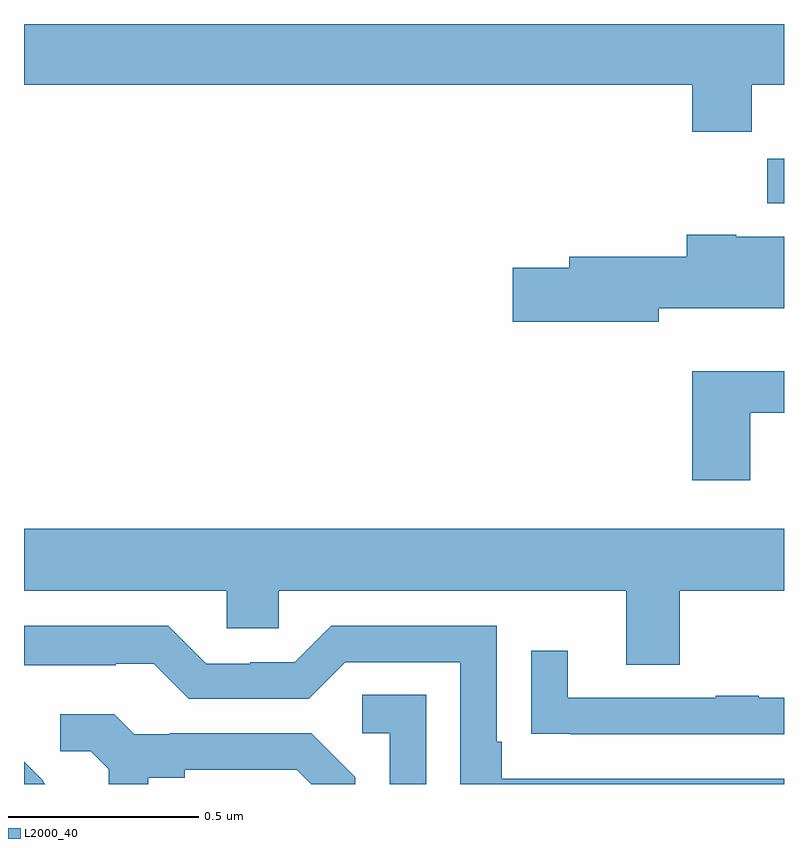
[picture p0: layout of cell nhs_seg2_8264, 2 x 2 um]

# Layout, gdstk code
import gdstk
lib = gdstk.Library(unit=1e-6, precision=1e-09)
def R(c, l, rs):  # rectangles x0, y0, x1, y1
    for r in rs: c.add(gdstk.rectangle(r[:2], r[2:], *l))
def P(c, l, *ps):  # polygons
    for p in ps: c.add(gdstk.Polygon(p, *l))
L2000_40 = (2000, 40)

nhs_seg2_8264 = lib.new_cell('nhs_seg2_8264')
R(nhs_seg2_8264, L2000_40, [(215.956,643.328,216,643.446)])
P(nhs_seg2_8264, L2000_40, [(215.915,643.64),(216,643.64),(216,643.8),(214,643.8),(214,643.64),(215.759,643.64),(215.759,643.516),(215.915,643.516)],
  [(215.67,643.052),(216,643.052),(216,643.24),(215.874,643.24),(215.874,643.246),(215.744,643.246),(215.744,643.188),(215.435,643.188),(215.435,643.158),(215.286,643.158),(215.286,643.016),(215.67,643.016)],
  [(215.911,642.777),(216,642.777),(216,642.886),(215.759,642.886),(215.759,642.6),(215.911,642.6)],
  [(215.725,642.308),(216,642.308),(216,642.472),(214,642.472),(214,642.308),(214.533,642.308),(214.533,642.21),(214.671,642.21),(214.671,642.308),(215.585,642.308),(215.585,642.114),(215.725,642.114)],
  [(216,641.814),(215.257,641.814),(215.257,641.911),(215.244,641.911),(215.244,642.216),(214.809,642.216),(214.713,642.12),(214.595,642.12),(214.595,642.117),(214.479,642.117),(214.379,642.217),(214,642.217),(214,642.113),(214.241,642.113),(214.241,642.117),(214.341,642.117),(214.434,642.024),(214.749,642.024),(214.845,642.12),(215.148,642.12),(215.148,641.8),(216,641.8)],
  [(216,642.027),(215.933,642.027),(215.933,642.032),(215.821,642.032),(215.821,642.027),(215.431,642.027),(215.431,642.151),(215.335,642.151),(215.335,641.932),(215.437,641.932),(215.437,641.931),(216,641.931)],
  [(215.058,642.035),(214.89,642.035),(214.89,641.934),(214.962,641.934),(214.962,641.8),(215.058,641.8)],
  [(214.327,641.816),(214.423,641.816),(214.423,641.838),(214.718,641.838),(214.756,641.8),(214.872,641.8),(214.872,641.818),(214.756,641.934),(214.384,641.934),(214.384,641.931),(214.29,641.931),(214.238,641.983),(214.095,641.983),(214.095,641.886),(214.176,641.886),(214.223,641.839),(214.223,641.8),(214.327,641.8)],
  [(214.049,641.807),(214.05,641.808),(214,641.858),(214,641.8),(214.056,641.8)])

lib.write_gds('nhs_seg2_8264.gds')
